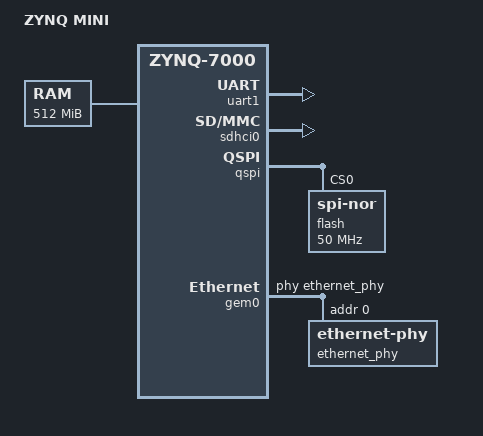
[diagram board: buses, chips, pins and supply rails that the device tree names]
// ZYNQ MINI (XC7Z010, 512 MB DDR3) U-Boot device tree, derived from the PetaLinux-generated system-top.dts
/dts-v1/;
#include "zynq-7000.dtsi"
#include "zynq-zynqmini-pcw.dtsi"
/ {
	model = "ZYNQ MINI";
	compatible = "xlnx,zynq-7000";
	chosen {
		bootargs = "earlycon";
		stdout-path = "serial0:115200n8";
	};
	aliases {
		ethernet0 = &gem0;
		serial0 = &uart1;
		spi0 = &qspi;
		mmc0 = &sdhci0;
	};
	memory@0 {
		device_type = "memory";
		reg = <0x0 0x20000000>;
	};
};

/* nodes the SPL needs (existing Zynq boards mark the same ones bootph-all) */
&uart1 {
	bootph-all;
	status = "okay";
};

&sdhci0 {
	bootph-all;
	status = "okay";
};

&qspi {
	bootph-all;
	/* W25Q128FV, 16 MiB: the SPL reads u-boot.img from it when the boot switch selects QSPI */
	flash@0 {
		compatible = "jedec,spi-nor";
		reg = <0>;
		spi-max-frequency = <50000000>;
		bootph-all;
	};
};

&gem0 {
	phy-handle = <&ethernet_phy>;
	ethernet_phy: ethernet-phy@0 {
		reg = <0>;
	};
};
